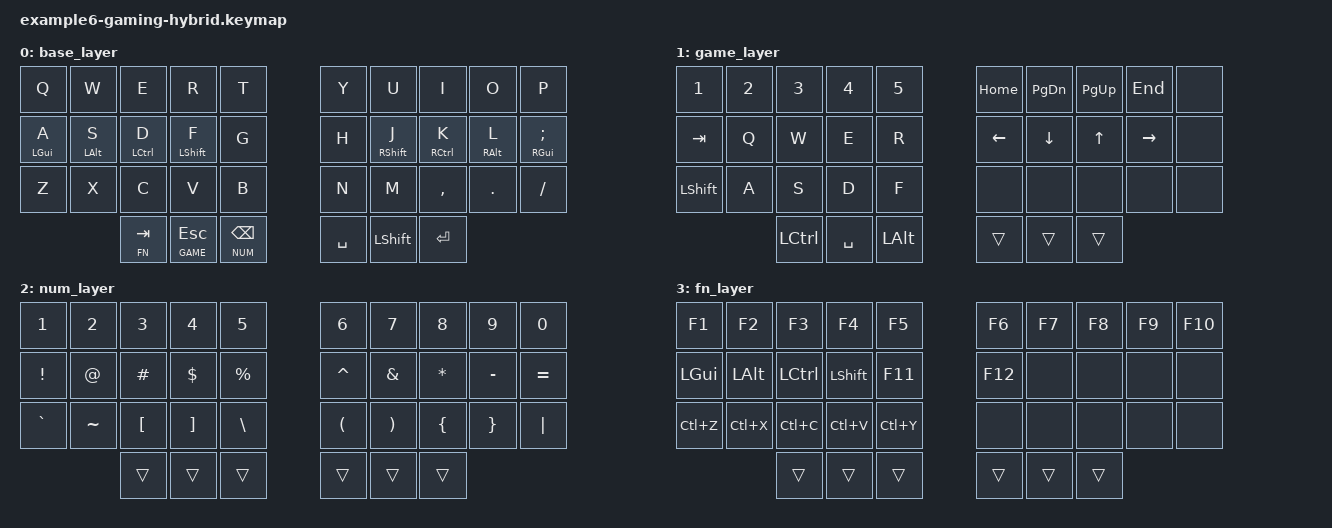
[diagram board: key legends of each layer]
// Example 6: Gaming/Productivity Hybrid
// Philosophy: Left hand gaming-ready (WASD accessible), right hand for typing
// Focus: Fast reactions with left, comfortable typing with both
// Thumb Strategy: Left heavy for rapid actions, right for modifiers

#include <behaviors.dtsi>
#include <dt-bindings/zmk/keys.h>

#define BASE 0
#define GAME 1
#define NUM  2
#define FN   3

/ {
    keymap {
        compatible = "zmk,keymap";

        base_layer {
            bindings = <
    // ╭─────────────┬─────────────┬─────────────┬─────────────┬─────────────╮   ╭─────────────┬─────────────┬─────────────┬─────────────┬─────────────╮
         &kp Q         &kp W         &kp E         &kp R         &kp T             &kp Y         &kp U         &kp I         &kp O         &kp P
    // ├─────────────┼─────────────┼─────────────┼─────────────┼─────────────┤   ├─────────────┼─────────────┼─────────────┼─────────────┼─────────────┤
         &mt LGUI A    &mt LALT S    &mt LCTRL D   &mt LSHFT F   &kp G             &kp H         &mt RSHFT J   &mt RCTRL K   &mt RALT L    &mt RGUI SEMI
    // ├─────────────┼─────────────┼─────────────┼─────────────┼─────────────┤   ├─────────────┼─────────────┼─────────────┼─────────────┼─────────────┤
         &kp Z         &kp X         &kp C         &kp V         &kp B             &kp N         &kp M         &kp COMMA     &kp DOT       &kp FSLH
    // ╰─────────────┴─────────────┴─────────────┼─────────────┼─────────────┤   ├─────────────┼─────────────┼─────────────┴─────────────┴─────────────╯
                                     &lt FN TAB    &lt GAME ESC  &lt NUM BSPC      &kp SPACE     &kp LSHFT     &kp RET
    //                               ╰─────────────┴─────────────┴─────────────╯   ╰─────────────┴─────────────┴─────────────╯
            >;
        };

        game_layer {
            // Easy number access for gaming, nav on right
            bindings = <
         &kp N1        &kp N2        &kp N3        &kp N4        &kp N5            &kp HOME      &kp PG_DN     &kp PG_UP     &kp END       &none
         &kp TAB       &kp Q         &kp W         &kp E         &kp R             &kp LEFT      &kp DOWN      &kp UP        &kp RIGHT     &none
         &kp LSHFT     &kp A         &kp S         &kp D         &kp F             &none         &none         &none         &none         &none
                                     &kp LCTRL     &kp SPACE     &kp LALT          &trans        &trans        &trans
            >;
        };

        num_layer {
            bindings = <
         &kp N1        &kp N2        &kp N3        &kp N4        &kp N5            &kp N6        &kp N7        &kp N8        &kp N9        &kp N0
         &kp EXCL      &kp AT        &kp HASH      &kp DLLR      &kp PRCNT         &kp CARET     &kp AMPS      &kp STAR      &kp MINUS     &kp EQUAL
         &kp GRAVE     &kp TILDE     &kp LBKT      &kp RBKT      &kp BSLH          &kp LPAR      &kp RPAR      &kp LBRC      &kp RBRC      &kp PIPE
                                     &trans        &trans        &trans            &trans        &trans        &trans
            >;
        };

        fn_layer {
            bindings = <
         &kp F1        &kp F2        &kp F3        &kp F4        &kp F5            &kp F6        &kp F7        &kp F8        &kp F9        &kp F10
         &kp LGUI      &kp LALT      &kp LCTRL     &kp LSHFT     &kp F11           &kp F12       &none         &none         &none         &none
         &kp LC(Z)     &kp LC(X)     &kp LC(C)     &kp LC(V)     &kp LC(Y)         &none         &none         &none         &none         &none
                                     &trans        &trans        &trans            &trans        &trans        &trans
            >;
        };
    };
};
